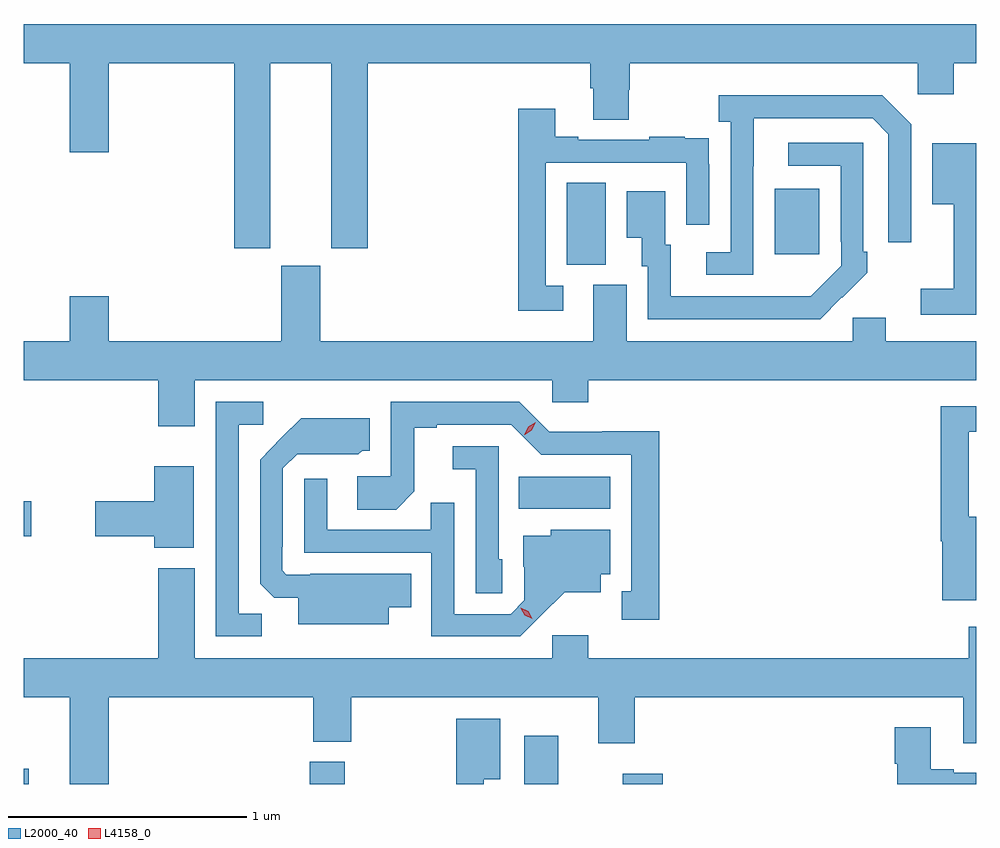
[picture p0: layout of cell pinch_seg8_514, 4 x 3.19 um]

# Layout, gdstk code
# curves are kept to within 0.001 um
import gdstk
lib = gdstk.Library(unit=1e-6, precision=1e-09)
def R(c, l, rs):  # rectangles x0, y0, x1, y1
    for r in rs: c.add(gdstk.rectangle(r[:2], r[2:], *l))
def P(c, l, *ps):  # polygons
    for p in ps: c.add(gdstk.Polygon(p, *l))
L2000_40 = (2000, 40)
L4158_0 = (4158, 0)

pinch_seg8_514 = lib.new_cell('pinch_seg8_514')
R(pinch_seg8_514, L2000_40, [(152.827,1110.807,152.848,1110.871), (154.028,1110.807,154.174,1110.9), (154.928,1110.807,155.071,1111.009), (155.342,1110.807,155.51,1110.85), (152.827,1111.847,152.857,1111.994), (154.906,1111.964,155.29,1112.098), (155.108,1112.989,155.272,1113.332), (155.981,1113.033,156.169,1113.307)])
P(pinch_seg8_514, L2000_40, [(153.862,1113.836),(154.118,1113.836),(154.118,1113.057),(154.271,1113.057),(154.271,1113.836),(155.207,1113.836),(155.207,1113.73),(155.219,1113.73),(155.219,1113.598),(155.367,1113.598),(155.367,1113.723),(155.372,1113.723),(155.372,1113.836),(156.582,1113.836),(156.582,1113.705),(156.734,1113.705),(156.734,1113.836),(156.827,1113.836),(156.827,1114),(152.827,1114),(152.827,1113.836),(153.02,1113.836),(153.02,1113.462),(153.184,1113.462),(153.184,1113.836),(153.71,1113.836),(153.71,1113.057),(153.862,1113.057)],
  [(155.892,1113.403),(155.893,1113.603),(156.393,1113.603),(156.459,1113.537),(156.459,1113.084),(156.555,1113.084),(156.555,1113.579),(156.434,1113.7),(155.745,1113.7),(155.745,1113.59),(155.796,1113.59),(155.796,1113.042),(155.694,1113.042),(155.694,1112.946),(155.892,1112.946)],
  [(155.092,1112.901),(155.019,1112.901),(155.019,1113.417),(155.61,1113.417),(155.61,1113.156),(155.706,1113.156),(155.706,1113.41),(155.705,1113.41),(155.705,1113.519),(155.603,1113.519),(155.603,1113.526),(155.455,1113.526),(155.455,1113.513),(155.155,1113.513),(155.155,1113.526),(155.059,1113.526),(155.059,1113.643),(154.903,1113.643),(154.903,1112.796),(155.092,1112.796)],
  [(156.263,1112.851),(156.264,1112.85),(156.369,1112.955),(156.369,1113.043),(156.354,1113.043),(156.354,1113.501),(156.039,1113.501),(156.039,1113.405),(156.258,1113.405),(156.258,1113.085),(156.261,1113.085),(156.261,1112.985),(156.133,1112.857),(155.545,1112.856),(155.545,1113.072),(155.521,1113.072),(155.521,1113.298),(155.36,1113.298),(155.36,1113.101),(155.423,1113.101),(155.423,1112.982),(155.448,1112.982),(155.448,1112.76),(156.172,1112.76)],
  [(156.827,1113.499),(156.644,1113.499),(156.644,1113.242),(156.734,1113.242),(156.734,1112.887),(156.594,1112.887),(156.594,1112.778),(156.827,1112.778)],
  [(153.544,1112.504),(155.046,1112.504),(155.046,1112.411),(155.198,1112.411),(155.198,1112.504),(156.827,1112.504),(156.827,1112.668),(156.448,1112.668),(156.448,1112.766),(156.309,1112.766),(156.309,1112.668),(155.359,1112.668),(155.359,1112.904),(155.219,1112.904),(155.219,1112.668),(154.072,1112.668),(154.072,1112.985),(153.908,1112.985),(153.908,1112.668),(153.184,1112.668),(153.184,1112.857),(153.02,1112.857),(153.02,1112.668),(152.827,1112.668),(152.827,1112.504),(153.392,1112.504),(153.392,1112.31),(153.544,1112.31)],
  [(155.497,1112.288),(155.256,1112.288),(155.256,1112.286),(155.034,1112.286),(154.908,1112.412),(154.368,1112.412),(154.368,1112.1),(154.227,1112.1),(154.227,1111.96),(154.391,1111.96),(154.467,1112.036),(154.467,1112.304),(154.561,1112.304),(154.561,1112.316),(154.875,1112.316),(155.001,1112.19),(155.378,1112.19),(155.378,1111.617),(155.339,1111.617),(155.339,1111.497),(155.497,1111.497)],
  [(153.825,1111.523),(153.729,1111.523),(153.729,1112.316),(153.832,1112.316),(153.832,1112.412),(153.633,1112.412),(153.633,1111.428),(153.825,1111.428)],
  [(156.827,1111.93),(156.797,1111.93),(156.797,1112.286),(156.827,1112.286),(156.827,1112.394),(156.679,1112.394),(156.679,1111.826),(156.686,1111.826),(156.686,1111.578),(156.827,1111.578)],
  [(154.36,1111.55),(154.454,1111.55),(154.454,1111.69),(154.03,1111.69),(154.03,1111.686),(153.93,1111.686),(153.912,1111.704),(153.912,1111.804),(153.915,1111.804),(153.915,1112.133),(153.975,1112.193),(154.232,1112.192),(154.248,1112.208),(154.279,1112.208),(154.279,1112.344),(153.991,1112.344),(153.819,1112.17),(153.819,1111.648),(153.878,1111.589),(153.98,1111.589),(153.98,1111.478),(154.36,1111.478)],
  [(154.836,1111.752),(154.821,1111.752),(154.821,1112.226),(154.629,1112.226),(154.629,1112.129),(154.725,1112.129),(154.725,1111.609),(154.836,1111.609)],
  [(153.541,1112.143),(153.374,1112.143),(153.374,1111.994),(153.126,1111.994),(153.126,1111.847),(153.374,1111.847),(153.374,1111.799),(153.541,1111.799)],
  [(154.996,1111.511),(155.099,1111.613),(155.251,1111.613),(155.251,1111.689),(155.29,1111.689),(155.29,1111.876),(155.04,1111.876),(155.04,1111.849),(154.925,1111.849),(154.925,1111.72),(154.929,1111.72),(154.929,1111.578),(154.872,1111.521),(154.635,1111.521),(154.635,1111.988),(154.537,1111.988),(154.537,1111.875),(154.101,1111.875),(154.101,1112.089),(154.005,1112.089),(154.005,1111.779),(154.539,1111.779),(154.539,1111.428),(154.912,1111.428)],
  [(153.184,1111.172),(154.043,1111.172),(154.043,1110.985),(154.203,1110.985),(154.203,1111.172),(155.24,1111.172),(155.24,1110.978),(155.393,1110.978),(155.393,1111.172),(156.773,1111.172),(156.773,1110.978),(156.827,1110.978),(156.827,1111.468),(156.797,1111.468),(156.797,1111.336),(155.198,1111.336),(155.198,1111.432),(155.046,1111.432),(155.046,1111.336),(153.544,1111.336),(153.544,1111.714),(153.392,1111.714),(153.392,1111.336),(152.827,1111.336),(152.827,1111.172),(153.02,1111.172),(153.02,1110.807),(153.184,1110.807)],
  [(154.759,1110.827),(154.828,1110.827),(154.828,1111.081),(154.643,1111.081),(154.643,1110.807),(154.759,1110.807)],
  [(156.827,1110.855),(156.733,1110.855),(156.733,1110.868),(156.637,1110.868),(156.637,1111.045),(156.485,1111.045),(156.485,1110.892),(156.497,1110.892),(156.497,1110.807),(156.827,1110.807)])
P(pinch_seg8_514, L4158_0, [(154.929,1112.275),(154.929,1112.275),(154.946,1112.308),(154.978,1112.327),(154.978,1112.327),(154.978,1112.327),(154.961,1112.294),(154.93,1112.275)],
  [(154.962,1111.502),(154.931,1111.517),(154.914,1111.546),(154.914,1111.547),(154.914,1111.547),(154.945,1111.532),(154.962,1111.502),(154.962,1111.502)])

lib.write_gds('pinch_seg8_514.gds')
